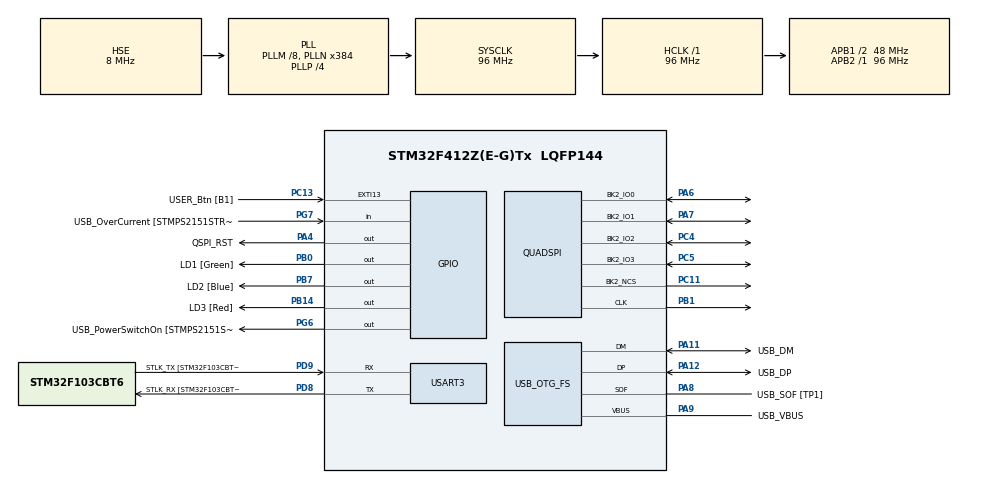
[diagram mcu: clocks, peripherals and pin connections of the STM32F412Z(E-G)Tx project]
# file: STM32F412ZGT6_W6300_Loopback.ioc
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Mcu.Family=STM32F4
Mcu.Name=STM32F412Z(E-G)Tx
Mcu.Package=LQFP144
NVIC.PriorityGroup=NVIC_PRIORITYGROUP_4
PA10.GPIO_Label=USB_ID
PA10.Signal=USB_OTG_FS_ID
PA11.GPIO_Label=USB_DM
PA11.Mode=Device_Only
PA11.Signal=USB_OTG_FS_DM
PA12.GPIO_Label=USB_DP
PA12.Mode=Device_Only
PA12.Signal=USB_OTG_FS_DP
PA13.GPIO_Label=TMS
PA13.Mode=Serial_Wire
PA13.Signal=SYS_JTMS-SWDIO
PA14.GPIO_Label=TCK
PA14.Mode=Serial_Wire
PA14.Signal=SYS_JTCK-SWCLK
PA4.GPIO_Label=QSPI_RST
PA4.Signal=GPIO_Output
PA6.Mode=Single Bank 2
PA6.Signal=QUADSPI_BK2_IO0
PA7.Mode=Single Bank 2
PA7.Signal=QUADSPI_BK2_IO1
PA8.GPIO_Label=USB_SOF [TP1]
PA8.Mode=Activate_SOF_FS
PA8.Signal=USB_OTG_FS_SOF
PA9.GPIO_Label=USB_VBUS
PA9.Mode=Activate_VBUS
PA9.Signal=USB_OTG_FS_VBUS
PB0.GPIO_Label=LD1 [Green]
PB0.Signal=GPIO_Output
PB1.Mode=Single Bank 2
PB1.Signal=QUADSPI_CLK
PB14.GPIO_Label=LD3 [Red]
PB14.Signal=GPIO_Output
PB3.GPIO_Label=SWO
PB3.Signal=SYS_JTDO-SWO
PB7.GPIO_Label=LD2 [Blue]
PB7.Signal=GPIO_Output
PC11.Mode=Single Bank 2
PC11.Signal=QUADSPI_BK2_NCS
PC13.GPIO_Label=USER_Btn [B1]
PC13.Signal=GPXTI13
PC14-OSC32_IN.Mode=LSE-External-Oscillator
PC14-OSC32_IN.Signal=RCC_OSC32_IN
PC15-OSC32_OUT.Mode=LSE-External-Oscillator
PC15-OSC32_OUT.Signal=RCC_OSC32_OUT
PC4.Mode=Single Bank 2
PC4.Signal=QUADSPI_BK2_IO2
PC5.Mode=Single Bank 2
PC5.Signal=QUADSPI_BK2_IO3
PD8.GPIO_Label=STLK_RX [STM32F103CBT6_PA3]
PD8.Mode=Asynchronous
PD8.Signal=USART3_TX
PD9.GPIO_Label=STLK_TX [STM32F103CBT6_PA2]
PD9.Mode=Asynchronous
PD9.Signal=USART3_RX
PG6.GPIO_Label=USB_PowerSwitchOn [STMPS2151STR_EN]
PG6.Signal=GPIO_Output
PG7.GPIO_Label=USB_OverCurrent [STMPS2151STR_FAULT]
PG7.Signal=GPIO_Input
PH0\ -\ OSC_IN.GPIO_Label=MCO
PH0\ -\ OSC_IN.Mode=HSE-External-Clock-Source
PH0\ -\ OSC_IN.Signal=RCC_OSC_IN
PH1\ -\ OSC_OUT.Mode=HSE-External-Clock-Source
PH1\ -\ OSC_OUT.Signal=RCC_OSC_OUT
ProjectManager.HeapSize=0x200
ProjectManager.StackSize=0x400
ProjectManager.TargetToolchain=STM32CubeIDE
RCC.48MHZClocksFreq_Value=24000000
RCC.AHBFreq_Value=96000000
RCC.APB1CLKDivider=RCC_HCLK_DIV2
RCC.APB1Freq_Value=48000000
RCC.APB1TimFreq_Value=96000000
RCC.APB2Freq_Value=96000000
RCC.APB2TimFreq_Value=96000000
RCC.CortexFreq_Value=96000000
RCC.HCLKFreq_Value=96000000
RCC.HSE_VALUE=8000000
RCC.HSI_VALUE=16000000
RCC.PLLM=8
RCC.PLLMUL=RCC_PLL_MUL9
RCC.PLLN=384
RCC.PLLP=RCC_PLLP_DIV4
RCC.PLLQ=8
RCC.PRESCALERUSB=RCC_USBCLKSOURCE_PLL_DIV1_5
RCC.SYSCLKFreq_VALUE=96000000
RCC.SYSCLKSource=RCC_SYSCLKSOURCE_PLLCLK
RCC.SYSCLKSourceVirtual=RCC_SYSCLKSOURCE_PLLCLK
RCC.USBFreq_Value=48000000
RCC.VCOOutputFreq_Value=384000000
USART3.VirtualMode=VM_ASYNC
USB_OTG_FS.VirtualMode=Device_Only
board=NUCLEO-F412ZG

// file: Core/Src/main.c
/* USER CODE BEGIN Header */
/**
  ******************************************************************************
  * @file           : main.c
  * @brief          : Main program body
  ******************************************************************************
  * @attention
  *
  * Copyright (c) 2025 STMicroelectronics.
  * All rights reserved.
  *
  * This software is licensed under terms that can be found in the LICENSE file
  * in the root directory of this software component.
  * If no LICENSE file comes with this software, it is provided AS-IS.
  *
  ******************************************************************************
  */
/* USER CODE END Header */
#include "main.h"
#include "loopback.h"
#include "wizchip_conf.h"

/************ W6300 Pinout ************

    PA6     ------> QUADSPI_BK2_IO0
    PA7     ------> QUADSPI_BK2_IO1
    PC4     ------> QUADSPI_BK2_IO2
    PC5     ------> QUADSPI_BK2_IO3
    PB1     ------> QUADSPI_CLK
    PC11   ------> QUADSPI_BK2_NCS
    PA4     ------> QSPI_RST

***************************************/

QSPI_HandleTypeDef hqspi;

UART_HandleTypeDef huart3;

PCD_HandleTypeDef hpcd_USB_OTG_FS;

/* USER CODE BEGIN PV */
static wiz_NetInfo g_net_info = {
    .mac = {0x00, 0x08, 0xDC, 0x12, 0x34, 0x56}, // MAC address
    .ip = {192, 168, 11, 2},                     // IP address
    .sn = {255, 255, 255, 0},                    // Subnet Mask
    .gw = {192, 168, 11, 1},                     // Gateway
    .dns = {8, 8, 8, 8},                         // DNS server
#if _WIZCHIP_ > W5500
    .lla = {
        0xfe, 0x80, 0x00, 0x00,
        0x00, 0x00, 0x00, 0x00,
        0x02, 0x08, 0xdc, 0xff,
        0xfe, 0x57, 0x57, 0x25
    },             // Link Local Address
    .gua = {
        0x00, 0x00, 0x00, 0x00,
        0x00, 0x00, 0x00, 0x00,
        0x00, 0x00, 0x00, 0x00,
        0x00, 0x00, 0x00, 0x00
    },             // Global Unicast Address
    .sn6 = {
        0xff, 0xff, 0xff, 0xff,
        0xff, 0xff, 0xff, 0xff,
        0x00, 0x00, 0x00, 0x00,
        0x00, 0x00, 0x00, 0x00
    },             // IPv6 Prefix
    .gw6 = {
        0x00, 0x00, 0x00, 0x00,
        0x00, 0x00, 0x00, 0x00,
        0x00, 0x00, 0x00, 0x00,
        0x00, 0x00, 0x00, 0x00
    },             // Gateway IPv6 Address
    .dns6 = {
        0x20, 0x01, 0x48, 0x60,
        0x48, 0x60, 0x00, 0x00,
        0x00, 0x00, 0x00, 0x00,
        0x00, 0x00, 0x88, 0x88
    },             // DNS6 server
    .ipmode = NETINFO_STATIC_ALL
#else
    .dhcp = NETINFO_STATIC
#endif
};

static uint8_t g_tcp_server_buf[2048] = {
    0,
};
/* USER CODE END PV */

void SystemClock_Config(void);
static void MX_GPIO_Init(void);
static void MX_USART3_UART_Init(void);
static void MX_USB_OTG_FS_PCD_Init(void);
static void MX_QUADSPI_Init(void);
/* USER CODE BEGIN PFP */
void print_network_information(wiz_NetInfo net_info);
void print_ipv6_addr(uint8_t* name, uint8_t* ip6addr);
void wizchip_initialize(void);
void wizchip_reset(void);
static inline void wizchip_deselect(void);
static inline void wizchip_select(void);
void W6300_QspiReadByte(uint8_t opcode, uint32_t addr, uint8_t *pbuf, uint16_t len);
void W6300_QspiWriteByte(uint8_t opcode, uint32_t addr, uint8_t *pbuf, uint16_t len);
/* USER CODE END PFP */

uint8_t arr[2] = {0xff, 0x55,0,0};
/* USER CODE BEGIN 0 */
int __io_putchar(int ch)
{
  HAL_UART_Transmit(&huart3, (uint8_t *)&ch, 1, HAL_MAX_DELAY);
  return ch;
}
/* USER CODE END 0 */

int main(void)
{

  /* MCU Configuration--------------------------------------------------------*/

  /* Reset of all peripherals, Initializes the Flash interface and the Systick. */
  HAL_Init();

  /* Configure the system clock */
  SystemClock_Config();

  /* Initialize all configured peripherals */
  MX_GPIO_Init();
  MX_USART3_UART_Init();
  MX_USB_OTG_FS_PCD_Init();
  MX_QUADSPI_Init();
  /* USER CODE BEGIN 2 */
  wizchip_reset();
  wizchip_initialize();
  network_initialize(g_net_info);
  print_network_information(g_net_info);
  /* USER CODE END 2 */

  /* Infinite loop */
  while (1)
  {
	  loopback_tcps(0, g_tcp_server_buf, 5000);
  }
}

void SystemClock_Config(void)
{
  RCC_OscInitTypeDef RCC_OscInitStruct = {0};
  RCC_ClkInitTypeDef RCC_ClkInitStruct = {0};

  /** Configure the main internal regulator output voltage
  */
  __HAL_RCC_PWR_CLK_ENABLE();
  __HAL_PWR_VOLTAGESCALING_CONFIG(PWR_REGULATOR_VOLTAGE_SCALE1);

  /** Initializes the RCC Oscillators according to the specified parameters
  * in the RCC_OscInitTypeDef structure.
  */
  RCC_OscInitStruct.OscillatorType = RCC_OSCILLATORTYPE_HSE;
  RCC_OscInitStruct.HSEState = RCC_HSE_BYPASS;
  RCC_OscInitStruct.PLL.PLLState = RCC_PLL_ON;
  RCC_OscInitStruct.PLL.PLLSource = RCC_PLLSOURCE_HSE;
  RCC_OscInitStruct.PLL.PLLM = 8;
  RCC_OscInitStruct.PLL.PLLN = 384;
  RCC_OscInitStruct.PLL.PLLP = RCC_PLLP_DIV4;
  RCC_OscInitStruct.PLL.PLLQ = 8;
  RCC_OscInitStruct.PLL.PLLR = 2;
  if (HAL_RCC_OscConfig(&RCC_OscInitStruct) != HAL_OK)
  {
    Error_Handler();
  }

  /** Initializes the CPU, AHB and APB buses clocks
  */
  RCC_ClkInitStruct.ClockType = RCC_CLOCKTYPE_HCLK|RCC_CLOCKTYPE_SYSCLK
                              |RCC_CLOCKTYPE_PCLK1|RCC_CLOCKTYPE_PCLK2;
  RCC_ClkInitStruct.SYSCLKSource = RCC_SYSCLKSOURCE_PLLCLK;
  RCC_ClkInitStruct.AHBCLKDivider = RCC_SYSCLK_DIV1;
  RCC_ClkInitStruct.APB1CLKDivider = RCC_HCLK_DIV2;
  RCC_ClkInitStruct.APB2CLKDivider = RCC_HCLK_DIV1;

  if (HAL_RCC_ClockConfig(&RCC_ClkInitStruct, FLASH_LATENCY_3) != HAL_OK)
  {
    Error_Handler();
  }
}

static void MX_QUADSPI_Init(void)
{

  /* QUADSPI parameter configuration*/
	  hqspi.Instance = QUADSPI;
	  hqspi.Init.ClockPrescaler = 32;
	  hqspi.Init.FifoThreshold = 1;
	  hqspi.Init.SampleShifting = QSPI_SAMPLE_SHIFTING_NONE;
	  hqspi.Init.FlashSize = 23;
	  hqspi.Init.ChipSelectHighTime = QSPI_CS_HIGH_TIME_3_CYCLE;
	  hqspi.Init.ClockMode = QSPI_CLOCK_MODE_0;
	  hqspi.Init.FlashID = QSPI_FLASH_ID_2;
	  hqspi.Init.DualFlash = QSPI_DUALFLASH_DISABLE;
	  if (HAL_QSPI_Init(&hqspi) != HAL_OK)
	  {
	    Error_Handler();
	  }

}

static void MX_USART3_UART_Init(void)
{

  huart3.Instance = USART3;
  huart3.Init.BaudRate = 115200;
  huart3.Init.WordLength = UART_WORDLENGTH_8B;
  huart3.Init.StopBits = UART_STOPBITS_1;
  huart3.Init.Parity = UART_PARITY_NONE;
  huart3.Init.Mode = UART_MODE_TX_RX;
  huart3.Init.HwFlowCtl = UART_HWCONTROL_NONE;
  huart3.Init.OverSampling = UART_OVERSAMPLING_16;
  if (HAL_UART_Init(&huart3) != HAL_OK)
  {
    Error_Handler();
  }

}

static void MX_USB_OTG_FS_PCD_Init(void)
{

  hpcd_USB_OTG_FS.Instance = USB_OTG_FS;
  hpcd_USB_OTG_FS.Init.dev_endpoints = 6;
  hpcd_USB_OTG_FS.Init.speed = PCD_SPEED_FULL;
  hpcd_USB_OTG_FS.Init.dma_enable = DISABLE;
  hpcd_USB_OTG_FS.Init.phy_itface = PCD_PHY_EMBEDDED;
  hpcd_USB_OTG_FS.Init.Sof_enable = ENABLE;
  hpcd_USB_OTG_FS.Init.low_power_enable = DISABLE;
  hpcd_USB_OTG_FS.Init.lpm_enable = DISABLE;
  hpcd_USB_OTG_FS.Init.battery_charging_enable = ENABLE;
  hpcd_USB_OTG_FS.Init.vbus_sensing_enable = ENABLE;
  hpcd_USB_OTG_FS.Init.use_dedicated_ep1 = DISABLE;
  if (HAL_PCD_Init(&hpcd_USB_OTG_FS) != HAL_OK)
  {
    Error_Handler();
  }

}

static void MX_GPIO_Init(void)
{
  GPIO_InitTypeDef GPIO_InitStruct = {0};

  /* GPIO Ports Clock Enable */
  __HAL_RCC_GPIOC_CLK_ENABLE();
  __HAL_RCC_GPIOH_CLK_ENABLE();
  __HAL_RCC_GPIOA_CLK_ENABLE();
  __HAL_RCC_GPIOB_CLK_ENABLE();
  __HAL_RCC_GPIOD_CLK_ENABLE();
  __HAL_RCC_GPIOG_CLK_ENABLE();

  /*Configure GPIO pin Output Level */
  HAL_GPIO_WritePin(QSPI_RST_GPIO_Port, QSPI_RST_Pin, GPIO_PIN_RESET);

  /*Configure GPIO pin Output Level */
  HAL_GPIO_WritePin(GPIOB, LD1_Pin|LD3_Pin|LD2_Pin, GPIO_PIN_RESET);

  /*Configure GPIO pin Output Level */
  HAL_GPIO_WritePin(USB_PowerSwitchOn_GPIO_Port, USB_PowerSwitchOn_Pin, GPIO_PIN_RESET);

  /*Configure GPIO pin : USER_Btn_Pin */
  GPIO_InitStruct.Pin = USER_Btn_Pin;
  GPIO_InitStruct.Mode = GPIO_MODE_IT_RISING;
  GPIO_InitStruct.Pull = GPIO_NOPULL;
  HAL_GPIO_Init(USER_Btn_GPIO_Port, &GPIO_InitStruct);

  /*Configure GPIO pin : QSPI_RST_Pin */
  GPIO_InitStruct.Pin = QSPI_RST_Pin;
  GPIO_InitStruct.Mode = GPIO_MODE_OUTPUT_PP;
  GPIO_InitStruct.Pull = GPIO_NOPULL;
  GPIO_InitStruct.Speed = GPIO_SPEED_FREQ_LOW;
  HAL_GPIO_Init(QSPI_RST_GPIO_Port, &GPIO_InitStruct);

  /*Configure GPIO pins : LD1_Pin LD3_Pin LD2_Pin */
  GPIO_InitStruct.Pin = LD1_Pin|LD3_Pin|LD2_Pin;
  GPIO_InitStruct.Mode = GPIO_MODE_OUTPUT_PP;
  GPIO_InitStruct.Pull = GPIO_NOPULL;
  GPIO_InitStruct.Speed = GPIO_SPEED_FREQ_LOW;
  HAL_GPIO_Init(GPIOB, &GPIO_InitStruct);

  /*Configure GPIO pin : USB_PowerSwitchOn_Pin */
  GPIO_InitStruct.Pin = USB_PowerSwitchOn_Pin;
  GPIO_InitStruct.Mode = GPIO_MODE_OUTPUT_PP;
  GPIO_InitStruct.Pull = GPIO_NOPULL;
  GPIO_InitStruct.Speed = GPIO_SPEED_FREQ_LOW;
  HAL_GPIO_Init(USB_PowerSwitchOn_GPIO_Port, &GPIO_InitStruct);

  /*Configure GPIO pin : USB_OverCurrent_Pin */
  GPIO_InitStruct.Pin = USB_OverCurrent_Pin;
  GPIO_InitStruct.Mode = GPIO_MODE_INPUT;
  GPIO_InitStruct.Pull = GPIO_NOPULL;
  HAL_GPIO_Init(USB_OverCurrent_GPIO_Port, &GPIO_InitStruct);

}

/* USER CODE BEGIN 4 */
void W6300_QspiWriteByte(uint8_t opcode, uint32_t addr, uint8_t *pbuf, uint16_t len)
{
    QSPI_CommandTypeDef sCommand = {0};

	if(_WIZCHIP_QSPI_MODE_ == QSPI_SINGLE_MODE){
		sCommand.AddressMode = QSPI_ADDRESS_1_LINE;
	    sCommand.AlternateByteMode    = QSPI_ALTERNATE_BYTES_1_LINE;
		sCommand.DataMode = QSPI_DATA_1_LINE;

	}
    else if(_WIZCHIP_QSPI_MODE_ == QSPI_DUAL_MODE){
		sCommand.AddressMode = QSPI_ADDRESS_2_LINES;
	    sCommand.AlternateByteMode    = QSPI_ALTERNATE_BYTES_2_LINES;
		sCommand.DataMode = QSPI_DATA_2_LINES;
    }
    else if(_WIZCHIP_QSPI_MODE_ == QSPI_QUAD_MODE){
		sCommand.AddressMode = QSPI_ADDRESS_4_LINES;
	    sCommand.AlternateByteMode    = QSPI_ALTERNATE_BYTES_4_LINES;
		sCommand.DataMode = QSPI_DATA_4_LINES;
    }

    // 1. Instruction Phase (1 byte)
    sCommand.InstructionMode = QSPI_INSTRUCTION_1_LINE;
    sCommand.Instruction = opcode;

    // 2. Address Phase (2 byte)
    sCommand.AddressSize = QSPI_ADDRESS_16_BITS;
    sCommand.Address = addr & 0xFFFF;

    // 3. Dummy Phase (1 byte)
//    sCommand.DummyCycles = 2;
    sCommand.AlternateBytesSize   = QSPI_ALTERNATE_BYTES_8_BITS;
    sCommand.AlternateBytes       = 0x00;                // replace Dummy with Alt (Using dummy parameters causes sampling errors in dual and quad modes)

    // 4. Data Phase (n byte)
    sCommand.NbData = len;

    // 5. And so on
    sCommand.DdrMode = QSPI_DDR_MODE_DISABLE;
    sCommand.DdrHoldHalfCycle = QSPI_DDR_HHC_ANALOG_DELAY;
    sCommand.SIOOMode = QSPI_SIOO_INST_EVERY_CMD;

    if (HAL_QSPI_Command(&hqspi, &sCommand, 1000) == HAL_OK)
    {
//        HAL_QSPI_Transmit_DMA(&hqspi, pbuf);
        HAL_QSPI_Transmit(&hqspi, pbuf, 1000);
    }

    while (__HAL_QSPI_GET_FLAG(&hqspi, QSPI_FLAG_BUSY))
        ;
}

void W6300_QspiReadByte(uint8_t opcode, uint32_t addr, uint8_t *pbuf, uint16_t len)
{
    QSPI_CommandTypeDef sCommand = {0};

	if(_WIZCHIP_QSPI_MODE_ == QSPI_SINGLE_MODE){
		sCommand.AddressMode = QSPI_ADDRESS_1_LINE;
		sCommand.DataMode = QSPI_DATA_1_LINE;
		sCommand.DummyCycles = 8;
	}
    else if(_WIZCHIP_QSPI_MODE_ == QSPI_DUAL_MODE){
		sCommand.AddressMode = QSPI_ADDRESS_2_LINES;
		sCommand.DataMode = QSPI_DATA_2_LINES;
		sCommand.DummyCycles = 4;
    }
    else if(_WIZCHIP_QSPI_MODE_ == QSPI_QUAD_MODE){
		sCommand.AddressMode = QSPI_ADDRESS_4_LINES;
		sCommand.DataMode = QSPI_DATA_4_LINES;
		sCommand.DummyCycles = 2;
    }

    // 1. Instruction Phase (1 byte)
    sCommand.InstructionMode = QSPI_INSTRUCTION_1_LINE;
    sCommand.Instruction = opcode;

    // 2. Address Phase (2 byte)
    sCommand.AddressSize = QSPI_ADDRESS_16_BITS;
    sCommand.Address = addr & 0xFFFF;

    // 3. Data Phase (n byte)
    sCommand.NbData = len;

    // 4. And so on
    sCommand.AlternateByteMode = QSPI_ALTERNATE_BYTES_NONE;
    sCommand.DdrMode = QSPI_DDR_MODE_DISABLE;
    sCommand.DdrHoldHalfCycle = QSPI_DDR_HHC_ANALOG_DELAY;
    sCommand.SIOOMode = QSPI_SIOO_INST_EVERY_CMD;
    if (HAL_QSPI_Command(&hqspi, &sCommand, 1000) == HAL_OK)
    {
        HAL_QSPI_Receive(&hqspi, pbuf,1000);
    }

    while (__HAL_QSPI_GET_FLAG(&hqspi, QSPI_FLAG_BUSY))
        ;
}

static inline void wizchip_select(void) {
}

static inline void wizchip_deselect(void) {
}

void wizchip_reset(void) {

   HAL_GPIO_WritePin(QSPI_RST_GPIO_Port, QSPI_RST_Pin, GPIO_PIN_RESET);
   HAL_Delay(100);

   HAL_GPIO_WritePin(QSPI_RST_GPIO_Port, QSPI_RST_Pin, GPIO_PIN_SET);
   HAL_Delay(100);
}

void network_initialize(wiz_NetInfo net_info) {
   ctlnetwork(CN_SET_NETINFO, (void*) &net_info);
}

void wizchip_initialize(void) {

#if   _WIZCHIP_QSPI_MODE_ == QSPI_SINGLE_MODE
    printf("QSPI Mode: SINGLE\n");
#elif _WIZCHIP_QSPI_MODE_ == QSPI_DUAL_MODE
    printf("QSPI Mode: DUAL\n");

#elif _WIZCHIP_QSPI_MODE_ == QSPI_QUAD_MODE
    printf("QSPI Mode: QUAD\n");
#endif

   reg_wizchip_qspi_cbfunc(W6300_QspiReadByte, W6300_QspiWriteByte);
   reg_wizchip_cs_cbfunc(wizchip_select, wizchip_deselect);
   /* W5x00 initialize */
   uint8_t temp;

   uint8_t memsize[2][8] = {{4, 4, 4, 4, 4, 4, 4, 4}, {4, 4, 4, 4, 4, 4, 4, 4}};

   if (ctlwizchip(CW_INIT_WIZCHIP, (void *)memsize) == -1)
      {
          #if _WIZCHIP_ <= W5500
          printf(" W5x00 initialized fail\n");
          #else
          printf(" W6x00 initialized fail\n");
          #endif

          return;
      }
      /* Check PHY link status */
   wiz_NetInfo tmp;
   ctlnetwork(CN_GET_NETINFO, (void*)&tmp);
      do
      {
          if (ctlwizchip(CW_GET_PHYLINK, (void *)&temp) == -1)
          {
              printf(" Unknown PHY link status\n");

              return;
          }
      } while (temp == PHY_LINK_OFF);
}

void print_network_information(wiz_NetInfo net_info)
{
    uint8_t tmp_str[8] = {
        0,
    };

    ctlnetwork(CN_GET_NETINFO, (void *)&net_info);
    ctlwizchip(CW_GET_ID, (void *)tmp_str);
#if _WIZCHIP_ <= W5500
    if (net_info.dhcp == NETINFO_DHCP)
    {
        printf("====================================================================================================\n");
        printf(" %s network configuration : DHCP\n\n", (char *)tmp_str);
    }
    else
    {
        printf("====================================================================================================\n");
        printf(" %s network configuration : static\n\n", (char *)tmp_str);
    }

    printf(" MAC         : %02X:%02X:%02X:%02X:%02X:%02X\n", net_info.mac[0], net_info.mac[1], net_info.mac[2], net_info.mac[3], net_info.mac[4], net_info.mac[5]);
    printf(" IP          : %d.%d.%d.%d\n", net_info.ip[0], net_info.ip[1], net_info.ip[2], net_info.ip[3]);
    printf(" Subnet Mask : %d.%d.%d.%d\n", net_info.sn[0], net_info.sn[1], net_info.sn[2], net_info.sn[3]);
    printf(" Gateway     : %d.%d.%d.%d\n", net_info.gw[0], net_info.gw[1], net_info.gw[2], net_info.gw[3]);
    printf(" DNS         : %d.%d.%d.%d\n", net_info.dns[0], net_info.dns[1], net_info.dns[2], net_info.dns[3]);
    printf("====================================================================================================\n\n");
#else
    printf("==========================================================\n");
    printf(" %s network configuration\n\n", (char *)tmp_str);

    printf(" MAC         : %02X:%02X:%02X:%02X:%02X:%02X\r\n", net_info.mac[0], net_info.mac[1], net_info.mac[2], net_info.mac[3], net_info.mac[4], net_info.mac[5]);
    printf(" IP          : %d.%d.%d.%d\r\n", net_info.ip[0], net_info.ip[1], net_info.ip[2], net_info.ip[3]);
    printf(" Subnet Mask : %d.%d.%d.%d\r\n", net_info.sn[0], net_info.sn[1], net_info.sn[2], net_info.sn[3]);
    printf(" Gateway     : %d.%d.%d.%d\r\n", net_info.gw[0], net_info.gw[1], net_info.gw[2], net_info.gw[3]);
    printf(" DNS         : %d.%d.%d.%d\r\n", net_info.dns[0], net_info.dns[1], net_info.dns[2], net_info.dns[3]);
    print_ipv6_addr(" GW6 ", net_info.gw6);
    print_ipv6_addr(" LLA ", net_info.lla);
    print_ipv6_addr(" GUA ", net_info.gua);
    print_ipv6_addr(" SUB6", net_info.sn6);
    print_ipv6_addr(" DNS6", net_info.dns6);
    printf("==========================================================\n\n");
#endif

}

void print_ipv6_addr(uint8_t* name, uint8_t* ip6addr)
{
	printf("%s        : ", name);
	printf("%04X:%04X", ((uint16_t)ip6addr[0] << 8) | ((uint16_t)ip6addr[1]), ((uint16_t)ip6addr[2] << 8) | ((uint16_t)ip6addr[3]));
	printf(":%04X:%04X", ((uint16_t)ip6addr[4] << 8) | ((uint16_t)ip6addr[5]), ((uint16_t)ip6addr[6] << 8) | ((uint16_t)ip6addr[7]));
	printf(":%04X:%04X", ((uint16_t)ip6addr[8] << 8) | ((uint16_t)ip6addr[9]), ((uint16_t)ip6addr[10] << 8) | ((uint16_t)ip6addr[11]));
	printf(":%04X:%04X\r\n", ((uint16_t)ip6addr[12] << 8) | ((uint16_t)ip6addr[13]), ((uint16_t)ip6addr[14] << 8) | ((uint16_t)ip6addr[15]));
}
/* USER CODE END 4 */

void Error_Handler(void)
{
  __disable_irq();
  while (1)
  {
  }
}
